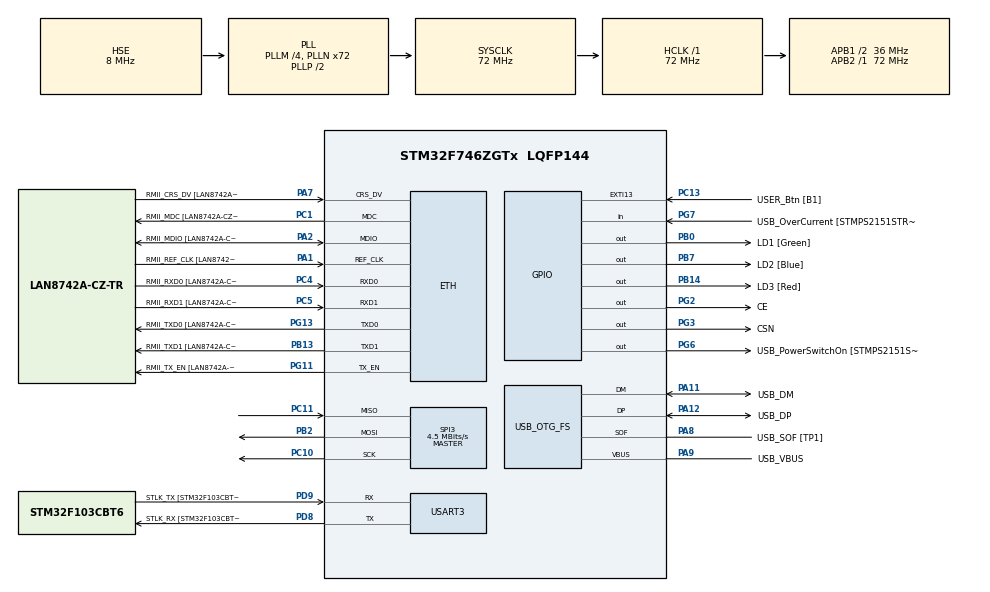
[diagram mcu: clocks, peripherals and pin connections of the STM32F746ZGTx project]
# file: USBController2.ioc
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Mcu.Family=STM32F7
RCC.CortexFreq_Value=72000000
SPI3.Direction=SPI_DIRECTION_2LINES
SPI3.VirtualType=VM_MASTER
PG6.Signal=GPIO_Output
PG2.Signal=GPIO_Output
SPI3.NSSPMode=SPI_NSS_PULSE_DISABLE
PC10.Signal=SPI3_SCK
PB14.GPIO_Label=LD3 [Red]
PG6.GPIO_Label=USB_PowerSwitchOn [STMPS2151STR_EN]
PA14.GPIO_Label=TCK
RCC.SYSCLKSourceVirtual=RCC_SYSCLKSOURCE_PLLCLK
PA11.Mode=Device_Only
PB0.GPIO_Label=LD1 [Green]
PC14/OSC32_IN.Mode=LSE-External-Oscillator
PC5.Mode=RMII
PC13.GPIO_Label=USER_Btn [B1]
PB13.GPIO_Label=RMII_TXD1 [LAN8742A-CZ-TR_TXD1]
PB13.Signal=ETH_TXD1
PG13.Signal=ETH_TXD0
PD9.Mode=Asynchronous
PG11.Signal=ETH_TX_EN
RCC.SYSCLKSource=RCC_SYSCLKSOURCE_PLLCLK
ProjectManager.StackSize=0x400
USART3.VirtualMode-Asynchronous=VM_ASYNC
PA12.Signal=USB_OTG_FS_DP
ETH.PHY_Value=0
PH0/OSC_IN.Mode=HSE-External-Clock-Source
RCC.HCLKFreq_Value=72000000
RCC.APB2TimFreq_Value=72000000
PH1/OSC_OUT.Signal=RCC_OSC_OUT
PD8.Signal=USART3_TX
RCC.AHBFreq_Value=72000000
SPI3.DataSize=SPI_DATASIZE_8BIT
RCC.HSE_VALUE=8000000
PB2.Signal=SPI3_MOSI
RCC.PLLMUL=RCC_PLL_MUL9
PC4.GPIO_Label=RMII_RXD0 [LAN8742A-CZ-TR_RXD0]
PA14.Mode=Serial_Wire
PA10.GPIO_Label=USB_ID
PB7.Signal=GPIO_Output
PA8.Signal=USB_OTG_FS_SOF
PG13.Mode=RMII
ETH.PHY_Name=LAN8742A_PHY_ADDRESS
PH1/OSC_OUT.Mode=HSE-External-Clock-Source
PB7.GPIO_Label=LD2 [Blue]
Mcu.Package=LQFP144
SPI3.Mode=SPI_MODE_MASTER
PC14/OSC32_IN.Signal=RCC_OSC32_IN
PA2.GPIO_Label=RMII_MDIO [LAN8742A-CZ-TR_MDIO]
PA10.Signal=USB_OTG_FS_ID
USB_OTG_FS.VirtualMode=Device_Only
PC11.Mode=Full_Duplex_Master
RCC.APB1TimFreq_Value=72000000
PG11.GPIO_Label=RMII_TX_EN [LAN8742A-CZ-TR_TXEN]
PC5.Signal=ETH_RXD1
PB13.Mode=RMII
PC4.Mode=RMII
PG2.GPIO_Label=CE
PB3.GPIO_Label=SW0
PA7.Mode=RMII
PG7.Signal=GPIO_Input
PD9.GPIO_Label=STLK_TX [STM32F103CBT6_PA2]
PG3.Signal=GPIO_Output
PA9.GPIO_Label=USB_VBUS
PC13.Signal=GPXTI13
PC11.Signal=SPI3_MISO
PC4.Signal=ETH_RXD0
PC10.Mode=Full_Duplex_Master
PA11.GPIO_Label=USB_DM
PD9.Signal=USART3_RX
RCC.APB1CLKDivider=RCC_HCLK_DIV2
PG13.GPIO_Label=RMII_TXD0 [LAN8742A-CZ-TR_TXD0]
ETH.PhyAddress=0
PA12.GPIO_Label=USB_DP
PD8.GPIO_Label=STLK_RX [STM32F103CBT6_PA3]
PA13.Signal=SYS_JTMS-SWDIO
PA9.Mode=Activate_VBUS
PA8.GPIO_Label=USB_SOF [TP1]
ProjectManager.TargetToolchain=SW4STM32
PA9.Signal=USB_OTG_FS_VBUS
RCC.USBFreq_Value=48000000
PD8.Mode=Asynchronous
PA1.Signal=ETH_REF_CLK
PB14.Signal=GPIO_Output
board=NUCLEO-F746ZG
RCC.VCOOutputFreq_Value=144000000
PH0/OSC_IN.Signal=RCC_OSC_IN
RCC.APB2Freq_Value=72000000
PA1.Mode=RMII
SPI3.CalculateBaudRate=4.5 MBits/s
RCC.PRESCALERUSB=RCC_USBCLKSOURCE_PLL_DIV1_5
PG7.GPIO_Label=USB_OverCurrent [STMPS2151STR_FAULT]
SPI3.BaudRatePrescaler=SPI_BAUDRATEPRESCALER_8
PA1.GPIO_Label=RMII_REF_CLK [LAN8742A-CZ-TR_REFCLK0]
PC1.GPIO_Label=RMII_MDC [LAN8742A-CZ-TR_MDC]
PA13.Mode=Serial_Wire
Mcu.Name=STM32F746ZGTx
PA2.Signal=ETH_MDIO
PA13.GPIO_Label=TMS
RCC.48MHZClocksFreq_Value=24000000
PB3.Signal=SYS_JTDO-SWO
RCC.SYSCLKFreq_VALUE=72000000
ETH.MediaInterface=ETH_MEDIA_INTERFACE_RMII
PA7.GPIO_Label=RMII_CRS_DV [LAN8742A-CZ-TR_CRS_DV]
PA12.Mode=Device_Only
PC5.GPIO_Label=RMII_RXD1 [LAN8742A-CZ-TR_RXD1]
PB2.Mode=Full_Duplex_Master
PC15/OSC32_OUT.Mode=LSE-External-Oscillator
PG11.Mode=RMII
PA11.Signal=USB_OTG_FS_DM
PA14.Signal=SYS_JTCK-SWCLK
ProjectManager.HeapSize=0x200
RCC.HSI_VALUE=16000000
PH0/OSC_IN.GPIO_Label=MCO [STM32F103CBT6_PA8]
RCC.PLLQ=3
NVIC.PriorityGroup=NVIC_PRIORITYGROUP_4
RCC.PLLM=4
RCC.PLLN=72
PA2.Mode=RMII
PC15/OSC32_OUT.Signal=RCC_OSC32_OUT
PA8.Mode=Activate_SOF_FS
PG3.GPIO_Label=CSN
RCC.APB1Freq_Value=36000000
PB0.Signal=GPIO_Output
PC1.Signal=ETH_MDC
PC1.Mode=RMII
PA7.Signal=ETH_CRS_DV

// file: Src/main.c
/* USER CODE BEGIN Header */
/**
  ******************************************************************************
  * @file           : main.c
  * @brief          : Main program body
  ******************************************************************************
  * @attention
  *
  * <h2><center>&copy; Copyright (c) 2021 STMicroelectronics.
  * All rights reserved.</center></h2>
  *
  * This software component is licensed by ST under BSD 3-Clause license,
  * the "License"; You may not use this file except in compliance with the
  * License. You may obtain a copy of the License at:
  *                        opensource.org/licenses/BSD-3-Clause
  *
  ******************************************************************************
  */
/* USER CODE END Header */

#include "main.h"

/* USER CODE BEGIN Includes */
#include "MY_NRF24.h"
/* USER CODE END Includes */

ETH_HandleTypeDef heth;

SPI_HandleTypeDef hspi3;

UART_HandleTypeDef huart3;

PCD_HandleTypeDef hpcd_USB_OTG_FS;

void SystemClock_Config(void);
static void MX_GPIO_Init(void);
static void MX_ETH_Init(void);
static void MX_SPI3_Init(void);
static void MX_USART3_UART_Init(void);
static void MX_USB_OTG_FS_PCD_Init(void);

int main(void)
{

  /* MCU Configuration--------------------------------------------------------*/

  /* Reset of all peripherals, Initializes the Flash interface and the Systick. */
  HAL_Init();

  /* Configure the system clock */
  SystemClock_Config();

  /* Initialize all configured peripherals */
  MX_GPIO_Init();
  MX_ETH_Init();
  MX_SPI3_Init();
  MX_USART3_UART_Init();
  MX_USB_OTG_FS_PCD_Init();
  /* USER CODE BEGIN 2 */
    //Reciever
  	uint64_t RxpipeAddrs = 0x11223344AA;
  	char myRxData[50];
  	char myAckPayload[32] = "Ack by STMF7!";

  	NRF24_begin(CSN_GPIO_Port, CSN_Pin, CE_Pin, hspi3);
  	nrf24_DebugUART_Init(huart3);
  	NRF24_setAutoAck(true);
  	NRF24_setChannel(52);
  	NRF24_setPayloadSize(32);
  	NRF24_openReadingPipe(1, RxpipeAddrs);
  	NRF24_enableDynamicPayloads();
  	NRF24_enableAckPayload();
  	NRF24_startListening();

  	printRadioSettings();

  /* USER CODE END 2 */

  /* Infinite loop */
  while (1)
  {

    /* USER CODE BEGIN 3 */
	  if(NRF24_available())
		{
			NRF24_read(myRxData, 32);
			NRF24_writeAckPayload(1, myAckPayload, 32);
			myRxData[32] = '\r'; myRxData[32+1] = '\n';
			HAL_UART_Transmit(&huart3, (uint8_t *)myRxData, 32+2, 10);
		}

  }
  /* USER CODE END 3 */
}

void SystemClock_Config(void)
{
  RCC_OscInitTypeDef RCC_OscInitStruct = {0};
  RCC_ClkInitTypeDef RCC_ClkInitStruct = {0};
  RCC_PeriphCLKInitTypeDef PeriphClkInitStruct = {0};

  /** Configure LSE Drive Capability
  */
  HAL_PWR_EnableBkUpAccess();
  /** Configure the main internal regulator output voltage
  */
  __HAL_RCC_PWR_CLK_ENABLE();
  __HAL_PWR_VOLTAGESCALING_CONFIG(PWR_REGULATOR_VOLTAGE_SCALE3);
  /** Initializes the CPU, AHB and APB busses clocks
  */
  RCC_OscInitStruct.OscillatorType = RCC_OSCILLATORTYPE_HSE;
  RCC_OscInitStruct.HSEState = RCC_HSE_BYPASS;
  RCC_OscInitStruct.PLL.PLLState = RCC_PLL_ON;
  RCC_OscInitStruct.PLL.PLLSource = RCC_PLLSOURCE_HSE;
  RCC_OscInitStruct.PLL.PLLM = 4;
  RCC_OscInitStruct.PLL.PLLN = 72;
  RCC_OscInitStruct.PLL.PLLP = RCC_PLLP_DIV2;
  RCC_OscInitStruct.PLL.PLLQ = 3;
  if (HAL_RCC_OscConfig(&RCC_OscInitStruct) != HAL_OK)
  {
    Error_Handler();
  }
  /** Initializes the CPU, AHB and APB busses clocks
  */
  RCC_ClkInitStruct.ClockType = RCC_CLOCKTYPE_HCLK|RCC_CLOCKTYPE_SYSCLK
                              |RCC_CLOCKTYPE_PCLK1|RCC_CLOCKTYPE_PCLK2;
  RCC_ClkInitStruct.SYSCLKSource = RCC_SYSCLKSOURCE_PLLCLK;
  RCC_ClkInitStruct.AHBCLKDivider = RCC_SYSCLK_DIV1;
  RCC_ClkInitStruct.APB1CLKDivider = RCC_HCLK_DIV2;
  RCC_ClkInitStruct.APB2CLKDivider = RCC_HCLK_DIV1;

  if (HAL_RCC_ClockConfig(&RCC_ClkInitStruct, FLASH_LATENCY_2) != HAL_OK)
  {
    Error_Handler();
  }
  PeriphClkInitStruct.PeriphClockSelection = RCC_PERIPHCLK_USART3|RCC_PERIPHCLK_CLK48;
  PeriphClkInitStruct.Usart3ClockSelection = RCC_USART3CLKSOURCE_PCLK1;
  PeriphClkInitStruct.Clk48ClockSelection = RCC_CLK48SOURCE_PLL;
  if (HAL_RCCEx_PeriphCLKConfig(&PeriphClkInitStruct) != HAL_OK)
  {
    Error_Handler();
  }
}

static void MX_ETH_Init(void)
{

  /* USER CODE BEGIN ETH_Init 0 */
//
  /* USER CODE END ETH_Init 0 */

  /* USER CODE BEGIN ETH_Init 1 */
//
  /* USER CODE END ETH_Init 1 */
  heth.Instance = ETH;
  heth.Init.AutoNegotiation = ETH_AUTONEGOTIATION_ENABLE;
  heth.Init.PhyAddress = LAN8742A_PHY_ADDRESS;
  heth.Init.MACAddr[0] =   0x00;
  heth.Init.MACAddr[1] =   0x80;
  heth.Init.MACAddr[2] =   0xE1;
  heth.Init.MACAddr[3] =   0x00;
  heth.Init.MACAddr[4] =   0x00;
  heth.Init.MACAddr[5] =   0x00;
  heth.Init.RxMode = ETH_RXPOLLING_MODE;
  heth.Init.ChecksumMode = ETH_CHECKSUM_BY_HARDWARE;
  heth.Init.MediaInterface = ETH_MEDIA_INTERFACE_RMII;

  /* USER CODE BEGIN MACADDRESS */
//
  /* USER CODE END MACADDRESS */

  if (HAL_ETH_Init(&heth) != HAL_OK)
  {
    Error_Handler();
  }
  /* USER CODE BEGIN ETH_Init 2 */
//
  /* USER CODE END ETH_Init 2 */

}

static void MX_SPI3_Init(void)
{

  /* SPI3 parameter configuration*/
  hspi3.Instance = SPI3;
  hspi3.Init.Mode = SPI_MODE_MASTER;
  hspi3.Init.Direction = SPI_DIRECTION_2LINES;
  hspi3.Init.DataSize = SPI_DATASIZE_8BIT;
  hspi3.Init.CLKPolarity = SPI_POLARITY_LOW;
  hspi3.Init.CLKPhase = SPI_PHASE_1EDGE;
  hspi3.Init.NSS = SPI_NSS_SOFT;
  hspi3.Init.BaudRatePrescaler = SPI_BAUDRATEPRESCALER_8;
  hspi3.Init.FirstBit = SPI_FIRSTBIT_MSB;
  hspi3.Init.TIMode = SPI_TIMODE_DISABLE;
  hspi3.Init.CRCCalculation = SPI_CRCCALCULATION_DISABLE;
  hspi3.Init.CRCPolynomial = 7;
  hspi3.Init.CRCLength = SPI_CRC_LENGTH_DATASIZE;
  hspi3.Init.NSSPMode = SPI_NSS_PULSE_DISABLE;
  if (HAL_SPI_Init(&hspi3) != HAL_OK)
  {
    Error_Handler();
  }

}

static void MX_USART3_UART_Init(void)
{

  huart3.Instance = USART3;
  huart3.Init.BaudRate = 115200;
  huart3.Init.WordLength = UART_WORDLENGTH_8B;
  huart3.Init.StopBits = UART_STOPBITS_1;
  huart3.Init.Parity = UART_PARITY_NONE;
  huart3.Init.Mode = UART_MODE_TX_RX;
  huart3.Init.HwFlowCtl = UART_HWCONTROL_NONE;
  huart3.Init.OverSampling = UART_OVERSAMPLING_16;
  huart3.Init.OneBitSampling = UART_ONE_BIT_SAMPLE_DISABLE;
  huart3.AdvancedInit.AdvFeatureInit = UART_ADVFEATURE_NO_INIT;
  if (HAL_UART_Init(&huart3) != HAL_OK)
  {
    Error_Handler();
  }

}

static void MX_USB_OTG_FS_PCD_Init(void)
{

  hpcd_USB_OTG_FS.Instance = USB_OTG_FS;
  hpcd_USB_OTG_FS.Init.dev_endpoints = 6;
  hpcd_USB_OTG_FS.Init.speed = PCD_SPEED_FULL;
  hpcd_USB_OTG_FS.Init.dma_enable = DISABLE;
  hpcd_USB_OTG_FS.Init.phy_itface = PCD_PHY_EMBEDDED;
  hpcd_USB_OTG_FS.Init.Sof_enable = ENABLE;
  hpcd_USB_OTG_FS.Init.low_power_enable = DISABLE;
  hpcd_USB_OTG_FS.Init.lpm_enable = DISABLE;
  hpcd_USB_OTG_FS.Init.vbus_sensing_enable = ENABLE;
  hpcd_USB_OTG_FS.Init.use_dedicated_ep1 = DISABLE;
  if (HAL_PCD_Init(&hpcd_USB_OTG_FS) != HAL_OK)
  {
    Error_Handler();
  }

}

static void MX_GPIO_Init(void)
{
  GPIO_InitTypeDef GPIO_InitStruct = {0};

  /* GPIO Ports Clock Enable */
  __HAL_RCC_GPIOC_CLK_ENABLE();
  __HAL_RCC_GPIOH_CLK_ENABLE();
  __HAL_RCC_GPIOA_CLK_ENABLE();
  __HAL_RCC_GPIOB_CLK_ENABLE();
  __HAL_RCC_GPIOD_CLK_ENABLE();
  __HAL_RCC_GPIOG_CLK_ENABLE();

  /*Configure GPIO pin Output Level */
  HAL_GPIO_WritePin(GPIOB, LD1_Pin|LD3_Pin|LD2_Pin, GPIO_PIN_RESET);

  /*Configure GPIO pin Output Level */
  HAL_GPIO_WritePin(GPIOG, CE_Pin|CSN_Pin|USB_PowerSwitchOn_Pin, GPIO_PIN_RESET);

  /*Configure GPIO pin : USER_Btn_Pin */
  GPIO_InitStruct.Pin = USER_Btn_Pin;
  GPIO_InitStruct.Mode = GPIO_MODE_IT_RISING;
  GPIO_InitStruct.Pull = GPIO_NOPULL;
  HAL_GPIO_Init(USER_Btn_GPIO_Port, &GPIO_InitStruct);

  /*Configure GPIO pins : LD1_Pin LD3_Pin LD2_Pin */
  GPIO_InitStruct.Pin = LD1_Pin|LD3_Pin|LD2_Pin;
  GPIO_InitStruct.Mode = GPIO_MODE_OUTPUT_PP;
  GPIO_InitStruct.Pull = GPIO_NOPULL;
  GPIO_InitStruct.Speed = GPIO_SPEED_FREQ_LOW;
  HAL_GPIO_Init(GPIOB, &GPIO_InitStruct);

  /*Configure GPIO pins : CE_Pin CSN_Pin USB_PowerSwitchOn_Pin */
  GPIO_InitStruct.Pin = CE_Pin|CSN_Pin|USB_PowerSwitchOn_Pin;
  GPIO_InitStruct.Mode = GPIO_MODE_OUTPUT_PP;
  GPIO_InitStruct.Pull = GPIO_NOPULL;
  GPIO_InitStruct.Speed = GPIO_SPEED_FREQ_LOW;
  HAL_GPIO_Init(GPIOG, &GPIO_InitStruct);

  /*Configure GPIO pin : USB_OverCurrent_Pin */
  GPIO_InitStruct.Pin = USB_OverCurrent_Pin;
  GPIO_InitStruct.Mode = GPIO_MODE_INPUT;
  GPIO_InitStruct.Pull = GPIO_NOPULL;
  HAL_GPIO_Init(USB_OverCurrent_GPIO_Port, &GPIO_InitStruct);

}

void Error_Handler(void)
{
}

/************************ (C) COPYRIGHT STMicroelectronics *****END OF FILE****/
